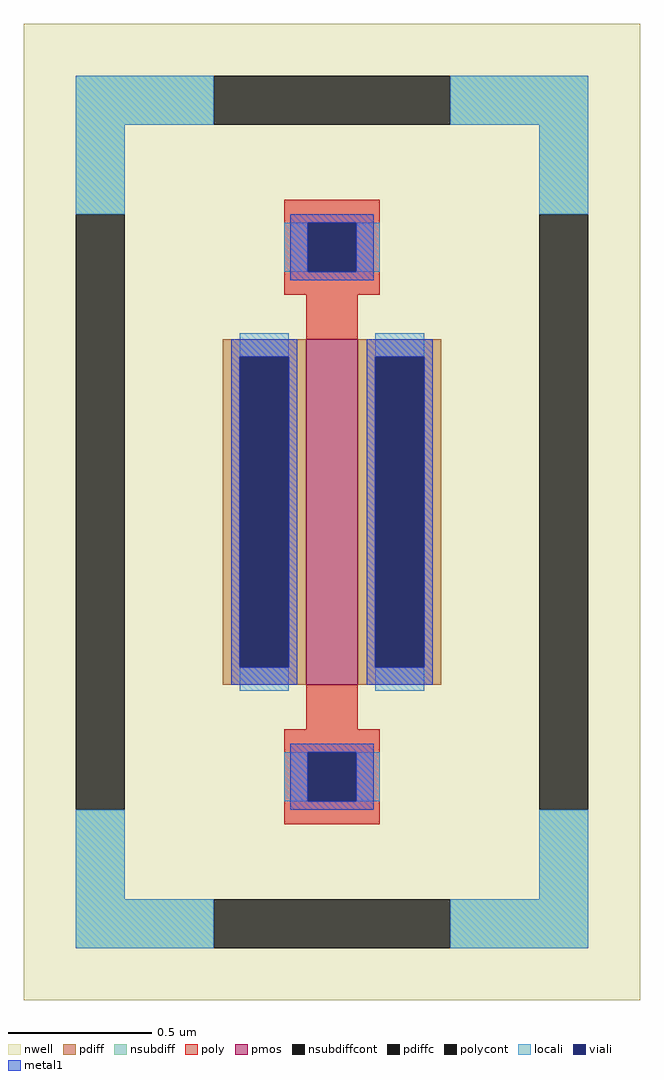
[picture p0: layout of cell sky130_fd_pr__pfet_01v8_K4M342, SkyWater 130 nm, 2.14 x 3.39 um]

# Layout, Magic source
magic
tech sky130A
magscale 1 2
<< nwell >>
rect -214 -339 214 339
<< pmos >>
rect -18 -120 18 120
<< pdiff >>
rect -76 108 -18 120
rect -76 -108 -64 108
rect -30 -108 -18 108
rect -76 -120 -18 -108
rect 18 108 76 120
rect 18 -108 30 108
rect 64 -108 76 108
rect 18 -120 76 -108
<< pdiffc >>
rect -64 -108 -30 108
rect 30 -108 64 108
<< nsubdiff >>
rect -178 269 -82 303
rect 82 269 178 303
rect -178 207 -144 269
rect 144 207 178 269
rect -178 -269 -144 -207
rect 144 -269 178 -207
rect -178 -303 -82 -269
rect 82 -303 178 -269
<< nsubdiffcont >>
rect -82 269 82 303
rect -178 -207 -144 207
rect 144 -207 178 207
rect -82 -303 82 -269
<< poly >>
rect -33 201 33 217
rect -33 167 -17 201
rect 17 167 33 201
rect -33 151 33 167
rect -18 120 18 151
rect -18 -151 18 -120
rect -33 -167 33 -151
rect -33 -201 -17 -167
rect 17 -201 33 -167
rect -33 -217 33 -201
<< polycont >>
rect -17 167 17 201
rect -17 -201 17 -167
<< locali >>
rect -178 269 -82 303
rect 82 269 178 303
rect -178 207 -144 269
rect 144 207 178 269
rect -33 167 -17 201
rect 17 167 33 201
rect -64 108 -30 124
rect -64 -124 -30 -108
rect 30 108 64 124
rect 30 -124 64 -108
rect -33 -201 -17 -167
rect 17 -201 33 -167
rect -178 -269 -144 -207
rect 144 -269 178 -207
rect -178 -303 -82 -269
rect 82 -303 178 -269
<< viali >>
rect -17 167 17 201
rect -64 -108 -30 108
rect 30 -108 64 108
rect -17 -201 17 -167
<< metal1 >>
rect -29 201 29 207
rect -29 167 -17 201
rect 17 167 29 201
rect -29 161 29 167
rect -70 108 -24 120
rect -70 -108 -64 108
rect -30 -108 -24 108
rect -70 -120 -24 -108
rect 24 108 70 120
rect 24 -108 30 108
rect 64 -108 70 108
rect 24 -120 70 -108
rect -29 -167 29 -161
rect -29 -201 -17 -167
rect 17 -201 29 -167
rect -29 -207 29 -201
<< properties >>
string FIXED_BBOX -161 -286 161 286
string gencell sky130_fd_pr__pfet_01v8
string library sky130
string parameters w 1.2 l 0.18 m 1 nf 1 diffcov 100 polycov 100 guard 1 glc 1 grc 1 gtc 1 gbc 1 tbcov 100 rlcov 100 topc 1 botc 1 poverlap 0 doverlap 1 lmin 0.15 wmin 0.42 compatible {sky130_fd_pr__pfet_01v8  sky130_fd_pr__pfet_01v8_lvt sky130_fd_pr__pfet_01v8_hvt  sky130_fd_pr__pfet_g5v0d10v5} full_metal 1 viasrc 100 viadrn 100 viagate 100 viagb 0 viagr 0 viagl 0 viagt 0
<< end >>
